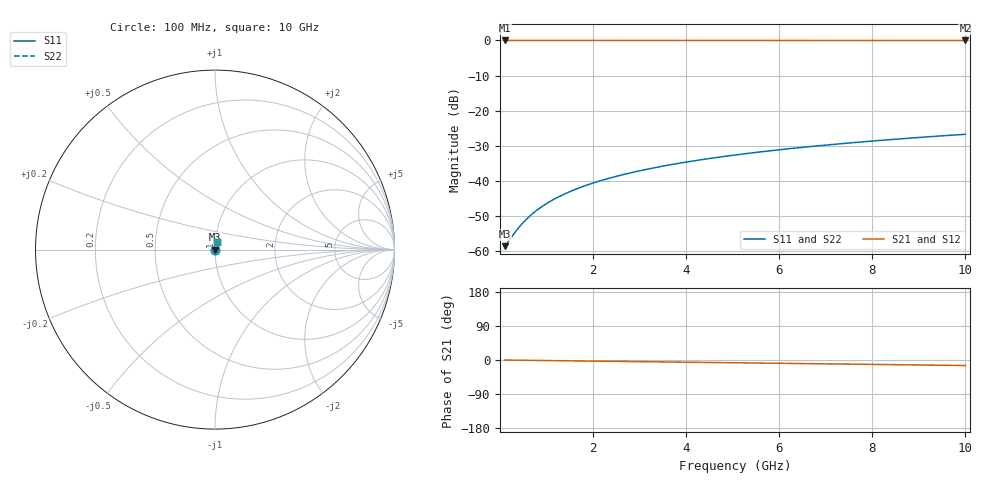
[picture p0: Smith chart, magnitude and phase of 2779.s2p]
# Hz S RI R 50.00
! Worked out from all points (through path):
!   100 points, 100 MHz to 10 GHz, reference 50 ohm
!   highest |S21| = -0.01 dB at 100 MHz (marker M1); lowest = 0.0 dB at 10 GHz (marker M2)
!   group delay of S21, straight-line fit = 4.04 ps
!   lowest |S11| = -58.5 dB at 100 MHz (marker M3), VSWR 1.00, Z = 50.1 + j0.0465 ohm
!   |S11| at or under -10 dB: start of sweep to end of sweep
!   |S22| runs from -58.5 to -26.7 dB; largest |S21 - S12| = 0
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1e8  0.0011 0.000464  0.9989 -0.00252  0.9989 -0.00252  0.0011 0.000464
2e8  0.00111 0.000927  0.9989 -0.00504  0.9989 -0.00504  0.00111 0.000927
3e8  0.00112 0.00139  0.9989 -0.00756  0.9989 -0.00756  0.00112 0.00139
4e8  0.00113 0.00185  0.9988 -0.0101  0.9988 -0.0101  0.00113 0.00185
5e8  0.00114 0.00232  0.9988 -0.0126  0.9988 -0.0126  0.00114 0.00232
6e8  0.00116 0.00278  0.9988 -0.0151  0.9988 -0.0151  0.00116 0.00278
7e8  0.00117 0.00324  0.9987 -0.0176  0.9987 -0.0176  0.00117 0.00324
8e8  0.00119 0.00371  0.9987 -0.0202  0.9987 -0.0202  0.00119 0.00371
1e9  0.00124 0.00463  0.9985 -0.0252  0.9985 -0.0252  0.00124 0.00463
1.2e9  0.00129 0.00556  0.9984 -0.0302  0.9984 -0.0302  0.00129 0.00556
1.5e9  0.00139 0.00694  0.9981 -0.0378  0.9981 -0.0378  0.00139 0.00694
1.8e9  0.00151 0.00833  0.9978 -0.0454  0.9978 -0.0454  0.00151 0.00833
2.1e9  0.00165 0.00971  0.9974 -0.0529  0.9974 -0.0529  0.00165 0.00971
2.5e9  0.00187 0.0115  0.9968 -0.063  0.9968 -0.063  0.00187 0.0115
2.9e9  0.00212 0.0134  0.996 -0.0731  0.996 -0.0731  0.00212 0.0134
3.4e9  0.00249 0.0157  0.995 -0.0857  0.995 -0.0857  0.00249 0.0157
4.2e9  0.0032 0.0193  0.993 -0.1058  0.993 -0.1058  0.0032 0.0193
5.1e9  0.00418 0.0234  0.9902 -0.1284  0.9902 -0.1284  0.00418 0.0234
5.9e9  0.0052 0.0269  0.9873 -0.1485  0.9873 -0.1485  0.0052 0.0269
6.7e9  0.00638 0.0305  0.9839 -0.1685  0.9839 -0.1685  0.00638 0.0305
8.4e9  0.00935 0.0378  0.9754 -0.2109  0.9754 -0.2109  0.00935 0.0378
1e10  0.0127 0.0445  0.9656 -0.2506  0.9656 -0.2506  0.0127 0.0445
